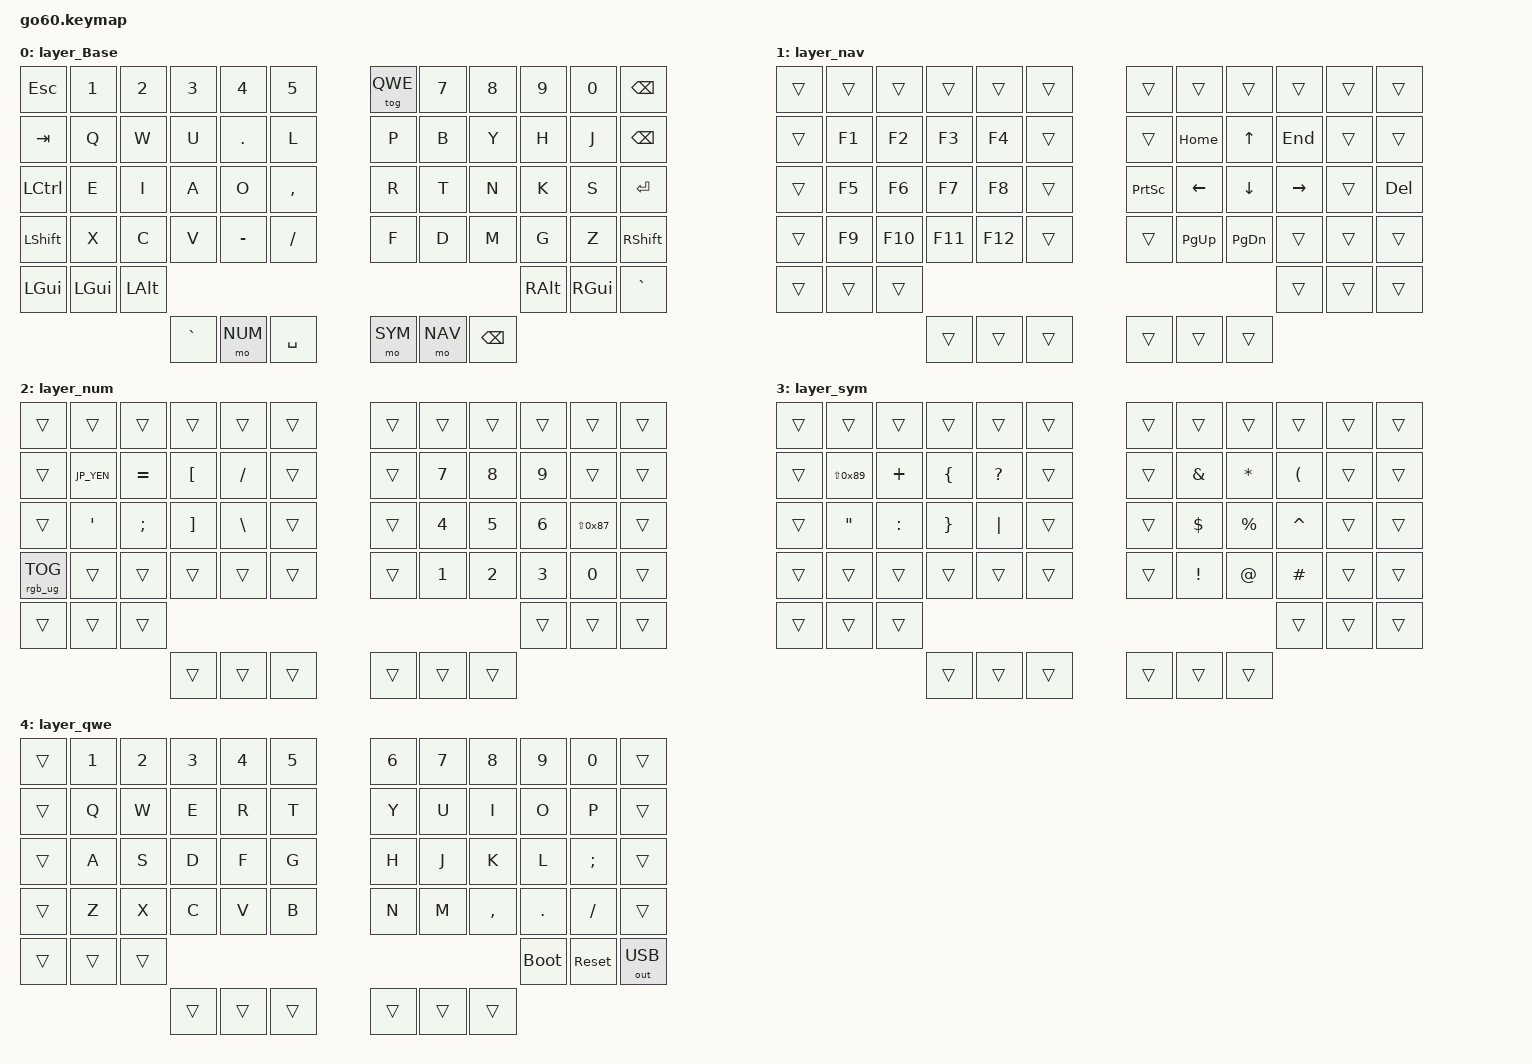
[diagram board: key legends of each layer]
/*
 * Copyright (c) 2020 The ZMK Contributors
 *
 * SPDX-License-Identifier: MIT
 */

#include <behaviors.dtsi>

#include <dt-bindings/zmk/bt.h>
#include <dt-bindings/zmk/ext_power.h>
#include <dt-bindings/zmk/keys.h>
#include <dt-bindings/zmk/outputs.h>
#include <dt-bindings/zmk/rgb.h>
#include <dt-bindings/zmk/input_transform.h>
#include <dt-bindings/zmk/pointing.h>

#include <input/processors.dtsi>
#include <zephyr/dt-bindings/input/input-event-codes.h>

// OS設定を日本語キーボードのまま使用するための変換定義
#define JP_DQUOTE       AT                // "
#define JP_AMPERSAND    CARET             // &
#define JP_QUOTE        AMPERSAND         // '
#define JP_EQUAL        UNDER             // =
#define JP_CARET        EQUAL             // ^
#define JP_YEN          0x89              // ¥
#define JP_PLUS         COLON             // +
#define JP_TILDE        PLUS              // ~
#define JP_PIPE         LS(0x89)          // |
#define JP_AT           LEFT_BRACKET      // @
#define JP_COLON        SINGLE_QUOTE      // :
#define JP_ASTERISK     DOUBLE_QUOTES     // *
#define JP_BACKQUOTE    LEFT_BRACE        // `
#define JP_UNDERSCORE   LS(0x87)          // _
#define JP_LBRACKET     RIGHT_BRACKET     // [
#define JP_RBRACKET     BACKSLASH         // ]
#define JP_LPAREN       ASTERISK          // (
#define JP_RPAREN       LEFT_PARENTHESIS  // )
#define JP_LBRACE       RIGHT_BRACE       // {
#define JP_RBRACE       PIPE              // }
#define JP_KANA         LANGUAGE_1        // かな
#define JP_EISU         LANGUAGE_2        // 英数
#define JP_HANZEN       GRAVE             // 半角/全角

// layers
#define BASE 0
#define NAV  1
#define NUM  2
#define SYM  3
#define QWE  4

/ {
    input_processors {
        zip_click_to_right_click_mapper: zip_click_to_right_click_mapper {
            compatible = "zmk,input-processor-code-mapper";
            #input-processor-cells = <0>;
            type = <INPUT_EV_KEY>;
            map = <INPUT_BTN_0 INPUT_BTN_1>;
        };
    };

    behaviors {
        magic: magic {
            compatible = "zmk,behavior-hold-tap";
            #binding-cells = <2>;
            flavor = "tap-preferred";
            tapping-term-ms = <200>;
            bindings = <&mo>, <&rgb_ug_status_macro>;
        };

        bt_0: bt_0 {
            compatible = "zmk,behavior-tap-dance";
            #binding-cells = <0>;
            tapping-term-ms = <200>;
            bindings = <&bt_select_0>, <&bt BT_DISC 0>;
        };
        bt_1: bt_1 {
            compatible = "zmk,behavior-tap-dance";
            #binding-cells = <0>;
            tapping-term-ms = <200>;
            bindings = <&bt_select_1>, <&bt BT_DISC 1>;
        };
        bt_2: bt_2 {
            compatible = "zmk,behavior-tap-dance";
            #binding-cells = <0>;
            tapping-term-ms = <200>;
            bindings = <&bt_select_2>, <&bt BT_DISC 2>;
        };
        bt_3: bt_3 {
            compatible = "zmk,behavior-tap-dance";
            #binding-cells = <0>;
            tapping-term-ms = <200>;
            bindings = <&bt_select_3>, <&bt BT_DISC 3>;
        };
    };

    macros {
        rgb_ug_status_macro: rgb_ug_status_macro {
            compatible = "zmk,behavior-macro";
            #binding-cells = <0>;
            bindings = <&rgb_ug RGB_STATUS>;
        };

        bt_select_0: bt_select_0 {
            compatible = "zmk,behavior-macro";
            #binding-cells = <0>;
            bindings
                = <&out OUT_BLE>,
                  <&bt BT_SEL 0>;
        };
        bt_select_1: bt_select_1 {
            compatible = "zmk,behavior-macro";
            #binding-cells = <0>;
            bindings
                = <&out OUT_BLE>,
                  <&bt BT_SEL 1>;
        };
        bt_select_2: bt_select_2 {
            compatible = "zmk,behavior-macro";
            #binding-cells = <0>;
            bindings
                = <&out OUT_BLE>,
                  <&bt BT_SEL 2>;
        };
        bt_select_3: bt_select_3 {
            compatible = "zmk,behavior-macro";
            #binding-cells = <0>;
            bindings
                = <&out OUT_BLE>,
                  <&bt BT_SEL 3>;
        };
    };

    keymap {
        compatible = "zmk,keymap";
        layer_Base {
            bindings = <
            &kp ESC  &kp N1     &kp N2   &kp N3    &kp N4  &kp N5                                                      &tog QWE    &kp N7     &kp N8    &kp N9    &kp N0           &kp BSPC
              &kp TAB   &kp Q      &kp W    &kp U     &kp DOT   &kp L                                                       &kp P   &kp B     &kp Y      &kp H     &kp J      &kp BSPC
              &kp LCTRL   &kp E      &kp I    &kp A     &kp O   &kp COMMA                                                   &kp R   &kp T     &kp N      &kp K     &kp S      &kp ENTER
 &kp LSHFT   &kp X      &kp C    &kp V     &kp MINUS   &kp SLASH                                                            &kp F   &kp D     &kp M      &kp G     &kp Z      &kp RSHFT
                               &kp LGUI  &kp LGUI  &kp LALT                                                                      &kp RALT   &kp RGUI  &kp JP_HANZEN
                                                     &kp JP_HANZEN  &mo NUM  &kp SPACE     &mo SYM    &mo NAV  &kp BSPC
            >;
        };

        layer_nav {
            bindings = <
                &trans     &trans    &trans     &trans     &trans         &trans                                                 &trans     &trans    &trans     &trans     &trans         &trans
               &trans      &kp F1  &kp F2   &kp F3   &kp F4      &trans                                              &trans  &kp HOME        &kp UP_ARROW    &kp END     &trans        &trans
               &trans  &kp F5  &kp F6   &kp F7   &kp F8      &trans                                              &kp PRINTSCREEN  &kp LEFT_ARROW  &kp DOWN_ARROW  &kp RIGHT_ARROW  &trans  &kp DELETE
 &trans  &kp F9  &kp F10  &kp F11  &kp F12  &trans                                              &trans           &kp PAGE_UP     &kp PAGE_DOWN   &trans           &trans  &trans         
                                      &trans     &trans     &trans                                                                        &trans  &trans      &trans
                                                             &trans  &trans  &trans              &trans  &trans  &trans
            >;
        };

        layer_num {
            bindings = <
              &trans    &trans    &trans     &trans     &trans         &trans                                      &trans     &trans    &trans     &trans     &trans    &trans
             &trans  &kp JP_YEN  &kp JP_CARET      &kp JP_AT       &kp SLASH          &trans                                     &trans  &kp N7        &kp N8        &kp N9        &trans    &trans
             &trans    &kp JP_COLON      &kp SEMICOLON  &kp JP_LBRACKET  &kp JP_RBRACKET  &trans                                     &trans  &kp NUMBER_4  &kp N5        &kp NUMBER_6  &kp JP_UNDERSCORE  &trans
 &rgb_ug RGB_TOG  &trans         &trans         &trans            &trans             &trans                                     &trans  &kp NUMBER_1  &kp NUMBER_2  &kp NUMBER_3  &kp N0  &trans
                                 &trans     &trans     &trans                                                            &trans  &trans  &trans
                                                            &trans  &trans  &trans       &trans  &trans  &trans
            >;
        };

        layer_sym {
            bindings = <
              &trans    &trans    &trans     &trans     &trans         &trans                                      &trans     &trans    &trans     &trans     &trans    &trans
             &trans  &kp JP_PIPE      &kp JP_TILDE  &kp JP_BACKQUOTE       &kp QUESTION          &trans                                     &trans  &kp JP_QUOTE  &kp JP_LPAREN  &kp JP_RPAREN        &trans    &trans
             &trans    &kp JP_ASTERISK  &kp JP_PLUS   &kp JP_LBRACE  &kp JP_RBRACE  &trans                                     &trans  &kp DOLLAR        &kp PERCENT           &kp JP_AMPERSAND          &trans  &trans
 &trans  &trans         &trans         &trans            &trans             &trans                                     &trans  &kp EXCLAMATION   &kp JP_DQUOTE     &kp HASH               &trans  &trans
                                 &trans     &trans     &trans                                                            &trans  &trans  &trans
                                                            &trans  &trans  &trans       &trans  &trans  &trans
            >;
        };

        layer_qwe {
            bindings = <
            &trans  &kp N1     &kp N2   &kp N3    &kp N4  &kp N5                                                      &kp N6    &kp N7     &kp N8    &kp N9    &kp N0           &trans
              &trans   &kp Q     &kp W     &kp E     &kp R     &kp T                                                       &kp Y   &kp U     &kp I      &kp O     &kp P      &trans
              &trans   &kp A     &kp S     &kp D     &kp F     &kp G                                                   &kp H   &kp J     &kp K      &kp L     &kp SEMI      &trans
 &trans   &kp Z        &kp X     &kp C     &kp V     &kp B                                                            &kp N   &kp M     &kp COMMA  &kp DOT   &kp SLASH      &trans
                               &trans     &trans     &trans                                                                      &bootloader  &sys_reset  &out OUT_USB
                                                     &trans     &trans     &trans     &trans  &trans  &trans
            >;
        };
    };
};

&cirque_rh_listener {
    input-processors = <&zip_xy_scaler 3 1>;
    layer_2 {
        layers = <2>;
        input-processors = <&zip_xy_scaler 9 1>;
    };
};

&cirque_lh_listener {
    input-processors = <&zip_xy_to_scroll_mapper>, <&zip_xy_scaler 1 8>, <&zip_click_to_right_click_mapper>;
    layer_4 {
        layers = <4>;
        input-processors = <&zip_xy_scaler 3 1>;
    };
};
